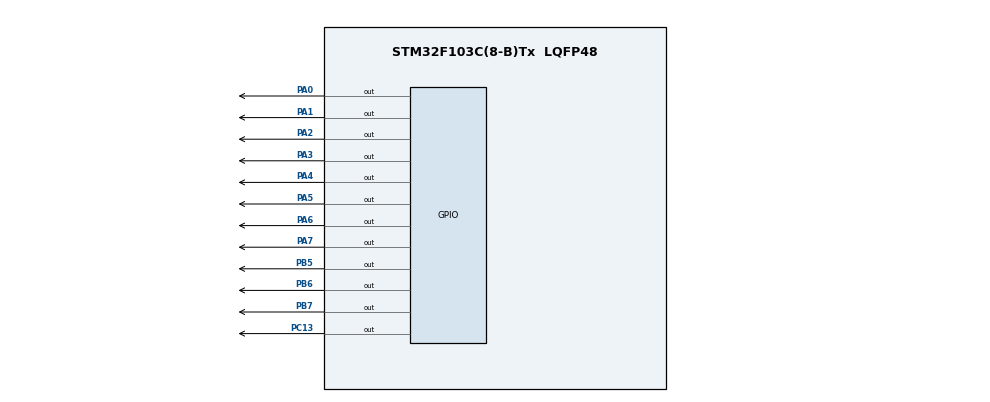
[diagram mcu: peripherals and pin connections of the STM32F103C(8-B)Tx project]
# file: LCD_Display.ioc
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Mcu.Family=STM32F1
Mcu.Name=STM32F103C(8-B)Tx
Mcu.Package=LQFP48
NVIC.PriorityGroup=NVIC_PRIORITYGROUP_4
PA0-WKUP.Signal=GPIO_Output
PA1.Signal=GPIO_Output
PA13.Mode=Serial_Wire
PA13.Signal=SYS_JTMS-SWDIO
PA14.Mode=Serial_Wire
PA14.Signal=SYS_JTCK-SWCLK
PA2.Signal=GPIO_Output
PA3.Signal=GPIO_Output
PA4.Signal=GPIO_Output
PA5.Signal=GPIO_Output
PA6.Signal=GPIO_Output
PA7.Signal=GPIO_Output
PB5.Signal=GPIO_Output
PB6.Signal=GPIO_Output
PB7.Signal=GPIO_Output
PC13-TAMPER-RTC.Signal=GPIO_Output
ProjectManager.HeapSize=0x200
ProjectManager.StackSize=0x400
ProjectManager.TargetToolchain=STM32CubeIDE
RCC.APB1Freq_Value=8000000
RCC.APB2Freq_Value=8000000
board=custom

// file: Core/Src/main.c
/* USER CODE BEGIN Header */
/**
  ******************************************************************************
  * @file           : main.c
  * @brief          : Main program body
  ******************************************************************************
  * @attention
  *
  * Copyright (c) 2022 STMicroelectronics.
  * All rights reserved.
  *
  * This software is licensed under terms that can be found in the LICENSE file
  * in the root directory of this software component.
  * If no LICENSE file comes with this software, it is provided AS-IS.
  *
  ******************************************************************************
  */
/* USER CODE END Header */
#include "main.h"

void SystemClock_Config(void);
static void MX_GPIO_Init(void);

/* USER CODE BEGIN 0 */
void writeToDisplay(char hexChar) {
  // Write a char (8 bits) to the 8 data pins (A0 - A7)
  int dataPins[8] = {GPIO_PIN_0,GPIO_PIN_1,GPIO_PIN_2,GPIO_PIN_3,GPIO_PIN_4,GPIO_PIN_5,GPIO_PIN_6,GPIO_PIN_7};

  for(int i = 0; i<8; i++) {
    int result = hexChar & (1 << i);
    GPIO_PinState pinState = result ? GPIO_PIN_SET : GPIO_PIN_RESET;

    HAL_GPIO_WritePin(GPIOA, dataPins[i], pinState);
    HAL_Delay(1);
  }

  // Set E = 1 for at least 230ns (latching pulse)
  HAL_GPIO_WritePin(GPIOB, GPIO_PIN_5, GPIO_PIN_SET);
  HAL_Delay(5);
  HAL_GPIO_WritePin(GPIOB, GPIO_PIN_5, GPIO_PIN_RESET);
  HAL_Delay(5);
}

void sendData(char hexChar) {
  // E not enabled
  HAL_GPIO_WritePin(GPIOB, GPIO_PIN_5, GPIO_PIN_RESET);
  HAL_Delay(3);

  // Select data register
  HAL_GPIO_WritePin(GPIOB, GPIO_PIN_7, GPIO_PIN_SET);
  HAL_Delay(3);

  // Select write mode
  HAL_GPIO_WritePin(GPIOB, GPIO_PIN_6, GPIO_PIN_RESET);
  HAL_Delay(3);

  // Call function to write hex character to D7-D0
  writeToDisplay(hexChar);
}

void sendCommand(char hexCommand) {
  // E not enabled
  HAL_GPIO_WritePin(GPIOB, GPIO_PIN_5, GPIO_PIN_RESET);
  HAL_Delay(3);

  // Select command register
  HAL_GPIO_WritePin(GPIOB, GPIO_PIN_7, GPIO_PIN_RESET);
  HAL_Delay(3);

  // Select write mode
  HAL_GPIO_WritePin(GPIOB, GPIO_PIN_6, GPIO_PIN_RESET);
  HAL_Delay(3);

  // Call function to write hex character to D7-D0
  writeToDisplay(hexCommand);
}

void clearDisplay() {
   // E not enabled
  HAL_GPIO_WritePin(GPIOB, GPIO_PIN_5, GPIO_PIN_RESET);
  HAL_Delay(10);

  sendCommand(56);
  HAL_Delay(10);
  sendCommand(15);
  HAL_Delay(10);
  sendCommand(1);
  HAL_Delay(10);
  sendCommand(6);
  HAL_Delay(10);
}

char pacmanComiendo[] = {
  0b01110,
  0b11101,
  0b11111,
  0b11110,
  0b11100,
  0b11110,
  0b11111,
  0b01110
};

char pacmanCerrado[] = {
  0b01110,
  0b11101,
  0b11111,
  0b11111,
  0b11110,
  0b11111,
  0b11111,
  0b01110
};

void writeSpecialCharacter(char specialChar[8]) {
  for(int i = 0; i<8; i++) {
    sendCommand(0x40 + i);
    sendData(specialChar[i]);
  }
}

void drawPacman(char specialChar[8], char cursorPlacement) {
  writeSpecialCharacter(specialChar);
  sendCommand(cursorPlacement);
  HAL_Delay(5);
  sendData(0x00);
}

/* USER CODE END 0 */

int main(void)
{

  /* MCU Configuration--------------------------------------------------------*/

  /* Reset of all peripherals, Initializes the Flash interface and the Systick. */
  HAL_Init();

  /* Configure the system clock */
  SystemClock_Config();

  /* Initialize all configured peripherals */
  MX_GPIO_Init();

  /* Infinite loop */
  while (1)
  {

  }
}

void SystemClock_Config(void)
{
  RCC_OscInitTypeDef RCC_OscInitStruct = {0};
  RCC_ClkInitTypeDef RCC_ClkInitStruct = {0};

  /** Initializes the RCC Oscillators according to the specified parameters
  * in the RCC_OscInitTypeDef structure.
  */
  RCC_OscInitStruct.OscillatorType = RCC_OSCILLATORTYPE_HSI;
  RCC_OscInitStruct.HSIState = RCC_HSI_ON;
  RCC_OscInitStruct.HSICalibrationValue = RCC_HSICALIBRATION_DEFAULT;
  RCC_OscInitStruct.PLL.PLLState = RCC_PLL_NONE;
  if (HAL_RCC_OscConfig(&RCC_OscInitStruct) != HAL_OK)
  {
    Error_Handler();
  }

  /** Initializes the CPU, AHB and APB buses clocks
  */
  RCC_ClkInitStruct.ClockType = RCC_CLOCKTYPE_HCLK|RCC_CLOCKTYPE_SYSCLK
                              |RCC_CLOCKTYPE_PCLK1|RCC_CLOCKTYPE_PCLK2;
  RCC_ClkInitStruct.SYSCLKSource = RCC_SYSCLKSOURCE_HSI;
  RCC_ClkInitStruct.AHBCLKDivider = RCC_SYSCLK_DIV1;
  RCC_ClkInitStruct.APB1CLKDivider = RCC_HCLK_DIV1;
  RCC_ClkInitStruct.APB2CLKDivider = RCC_HCLK_DIV1;

  if (HAL_RCC_ClockConfig(&RCC_ClkInitStruct, FLASH_LATENCY_0) != HAL_OK)
  {
    Error_Handler();
  }
}

static void MX_GPIO_Init(void)
{
  GPIO_InitTypeDef GPIO_InitStruct = {0};

  /* GPIO Ports Clock Enable */
  __HAL_RCC_GPIOC_CLK_ENABLE();
  __HAL_RCC_GPIOA_CLK_ENABLE();
  __HAL_RCC_GPIOB_CLK_ENABLE();

  /*Configure GPIO pin Output Level */
  HAL_GPIO_WritePin(GPIOC, GPIO_PIN_13, GPIO_PIN_RESET);

  /*Configure GPIO pin Output Level */
  HAL_GPIO_WritePin(GPIOA, GPIO_PIN_0|GPIO_PIN_1|GPIO_PIN_2|GPIO_PIN_3
                          |GPIO_PIN_4|GPIO_PIN_5|GPIO_PIN_6|GPIO_PIN_7, GPIO_PIN_RESET);

  /*Configure GPIO pin Output Level */
  HAL_GPIO_WritePin(GPIOB, GPIO_PIN_5|GPIO_PIN_6|GPIO_PIN_7, GPIO_PIN_RESET);

  /*Configure GPIO pin : PC13 */
  GPIO_InitStruct.Pin = GPIO_PIN_13;
  GPIO_InitStruct.Mode = GPIO_MODE_OUTPUT_PP;
  GPIO_InitStruct.Pull = GPIO_NOPULL;
  GPIO_InitStruct.Speed = GPIO_SPEED_FREQ_LOW;
  HAL_GPIO_Init(GPIOC, &GPIO_InitStruct);

  /*Configure GPIO pins : PA0 PA1 PA2 PA3
                           PA4 PA5 PA6 PA7 */
  GPIO_InitStruct.Pin = GPIO_PIN_0|GPIO_PIN_1|GPIO_PIN_2|GPIO_PIN_3
                          |GPIO_PIN_4|GPIO_PIN_5|GPIO_PIN_6|GPIO_PIN_7;
  GPIO_InitStruct.Mode = GPIO_MODE_OUTPUT_PP;
  GPIO_InitStruct.Pull = GPIO_NOPULL;
  GPIO_InitStruct.Speed = GPIO_SPEED_FREQ_LOW;
  HAL_GPIO_Init(GPIOA, &GPIO_InitStruct);

  /*Configure GPIO pins : PB5 PB6 PB7 */
  GPIO_InitStruct.Pin = GPIO_PIN_5|GPIO_PIN_6|GPIO_PIN_7;
  GPIO_InitStruct.Mode = GPIO_MODE_OUTPUT_PP;
  GPIO_InitStruct.Pull = GPIO_NOPULL;
  GPIO_InitStruct.Speed = GPIO_SPEED_FREQ_LOW;
  HAL_GPIO_Init(GPIOB, &GPIO_InitStruct);

}

void Error_Handler(void)
{
  __disable_irq();
  while (1)
  {
  }
}
